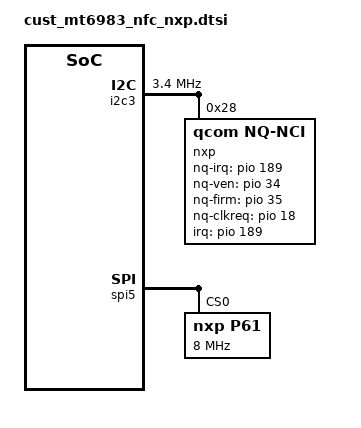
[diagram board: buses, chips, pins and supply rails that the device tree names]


//NFCC for Mediateckstart
&i2c3 {
    status = "okay";
    clock-frequency = <3400000>;
    nxp@28 {
        compatible = "qcom,nq-nci";
        reg = <0x28>;
        qcom,nq-irq         = <&pio 189 0x00>;
        interrupt-parent    = <&pio>;
        interrupts          = <189 IRQ_TYPE_LEVEL_HIGH 189 0>;
        qcom,nq-ven         = <&pio 34 0x0>;
        qcom,nq-firm        = <&pio 35 0x0>;
        qcom,nq-clkreq      = <&pio 18 0x0>;

        interrupt-names = "nfc_irq";
        pinctrl-names   = "default", "nfc_active", "nfc_suspend";

        pinctrl-0 = <&nfc_default>;
        pinctrl-1 = <&nfc_int_active &nfc_enable_active
                    &nfc_clk_req_active &nfc_firmwaredownload_active>;
        pinctrl-2 = <&nfc_int_suspend &nfc_enable_suspend
                    &nfc_clk_req_suspend &nfc_firmwaredownload_suspend>;
    };
};

&clock_buffer_ctrl {
    mediatek,xo-bbck4 = <1>;
};

&pio {
    nfc_default: nfc_default {
    };
    nfc_int_active: nfc_int_active {
        pins_cmd_dat {
            pinmux = <PINMUX_GPIO189__FUNC_GPIO189>;
            slew-rate = <0>;
            drive-strength = <MTK_DRIVE_2mA>;
            bias-pull-up;
        };
    };
    nfc_int_suspend: nfc_int_suspend {
        pins_cmd_dat {
            pinmux = <PINMUX_GPIO189__FUNC_GPIO189>;
            slew-rate = <0>;
            drive-strength = <MTK_DRIVE_2mA>;
            bias-pull-up;
        };
    };

    nfc_enable_active: nfc_enable_active {
        pins_cmd_dat {
            pinmux = <PINMUX_GPIO34__FUNC_GPIO34>;
            slew-rate = <1>;
            output-high;
            drive-strength = <MTK_DRIVE_2mA>;
            bias-pull-up=<MTK_PUPD_SET_R1R0_11>;
        };
    };
    nfc_enable_suspend: nfc_enable_suspend {
        pins_cmd_dat {
            pinmux = <PINMUX_GPIO34__FUNC_GPIO34>;
            slew-rate = <1>;
            drive-strength = <MTK_DRIVE_2mA>;
            bias-disable;
        };
    };

    nfc_firmwaredownload_active: nfc_firmwaredownload_active {
        pins_cmd_dat {
            pinmux = <PINMUX_GPIO35__FUNC_GPIO35>;
            slew-rate = <1>;
            drive-strength = <MTK_DRIVE_2mA>;
            bias-pull-up;
        };
    };
    nfc_firmwaredownload_suspend: nfc_firmwaredownload_suspend {
        pins_cmd_dat {
            pinmux = <PINMUX_GPIO35__FUNC_GPIO35>;
            slew-rate = <1>;
            drive-strength = <MTK_DRIVE_2mA>;
            bias-disable;
        };
    };

    nfc_clk_req_active: nfc_clk_req_active {
        pins_cmd_dat {
            pinmux = <PINMUX_GPIO18__FUNC_SRCLKENAI0>;
            slew-rate = <0>;
            input-enable;
            drive-strength = <MTK_DRIVE_2mA>;
            bias-pull-up;
        };
    };
    nfc_clk_req_suspend: nfc_clk_req_suspend {
        pins_cmd_dat {
            pinmux = <PINMUX_GPIO18__FUNC_SRCLKENAI0>;
            slew-rate = <0>;
            input-enable;
            drive-strength = <MTK_DRIVE_2mA>;
            bias-pull-down;
        };
    };
};
//NFCC end 

/* eSE SPI configuration */
&spi5 {
    #address-cells = <1>;
    #size-cells = <0>;
    p61@31 {
        compatible = "nxp,p61";
        reg = <0>;
        nxp,nfcc = "3-0028";
        spi-max-frequency = <8000000>;
        status = "okay";
        pinctrl-names = "nxp_ese_spi_mode";
        pinctrl-0 = <&nxp_ese_spi_mode>;
    };
};

&pio {
    nxp_ese_spi_mode: nxp_ese_spi_mode {
        pins_cmd_dat {
            pinmux = <PINMUX_GPIO76__FUNC_SPI5_MI>,
                    <PINMUX_GPIO77__FUNC_SPI5_MO>,
                    <PINMUX_GPIO74__FUNC_SPI5_CLK>,
                    <PINMUX_GPIO75__FUNC_SPI5_CSB>;
            drive-strength = <6>;
        };
    };
};
/* eSE SPI configuration -- end */
